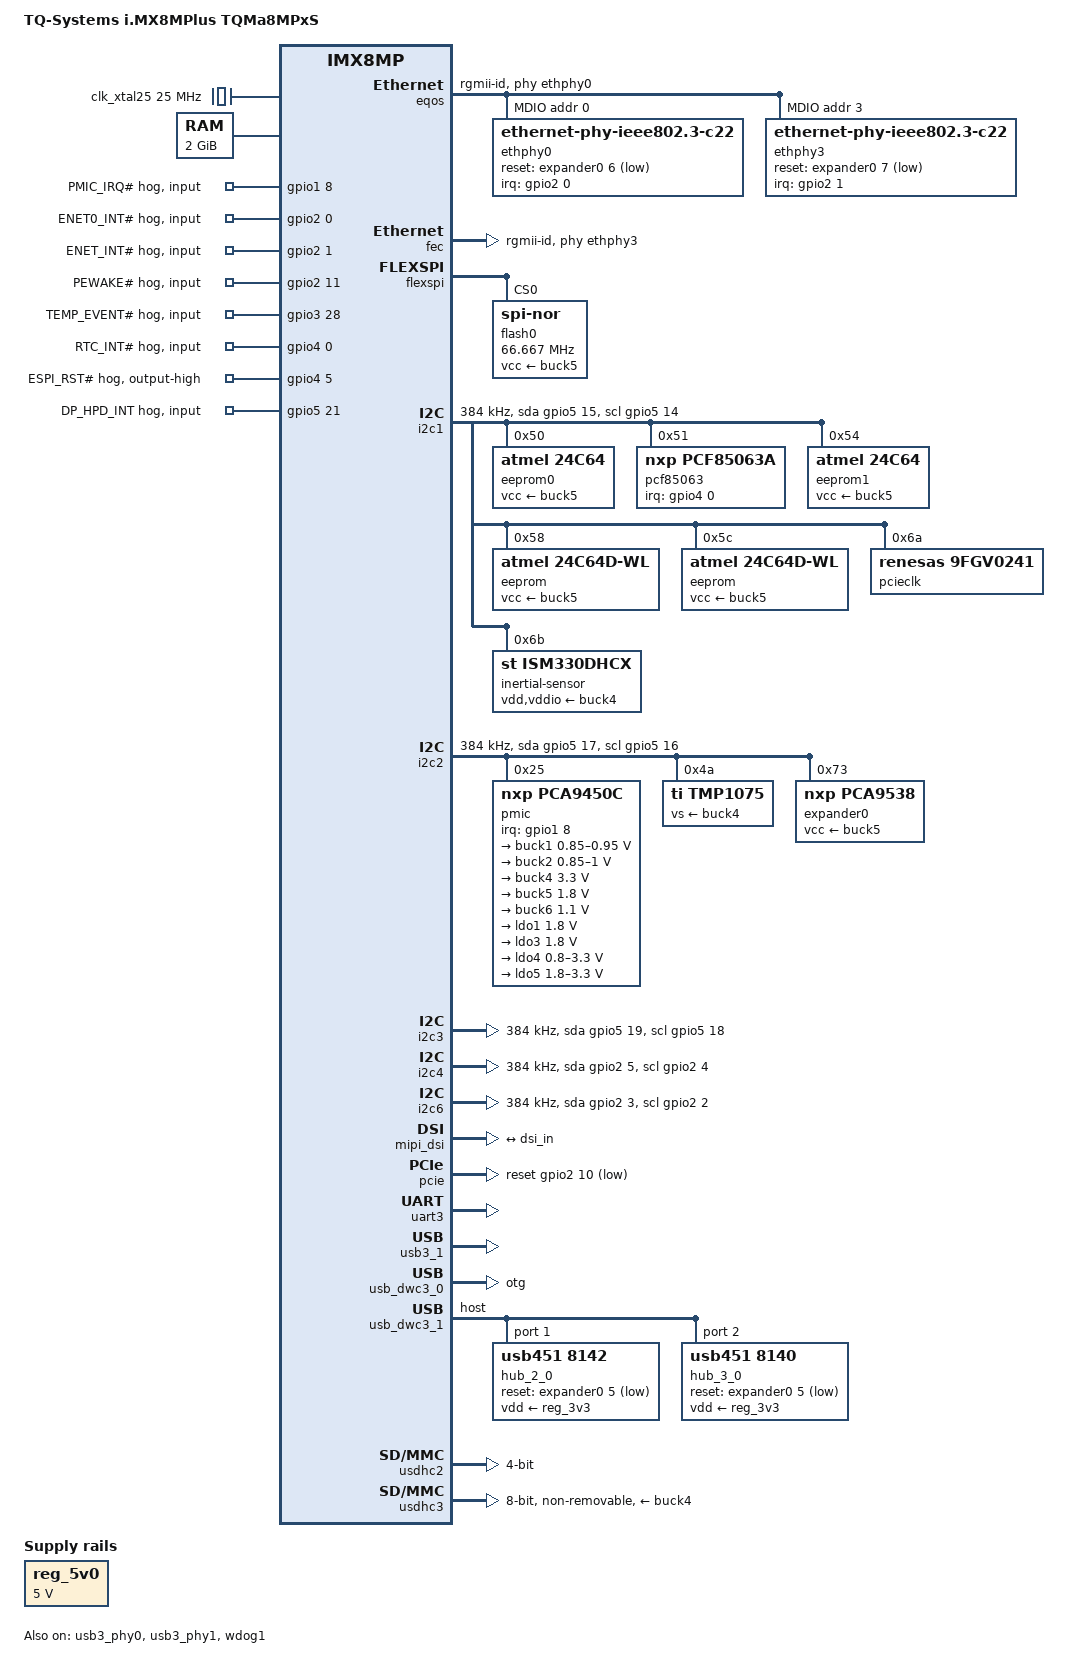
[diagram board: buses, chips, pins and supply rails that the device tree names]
// SPDX-License-Identifier: GPL-2.0-or-later OR MIT
/*
 * Copyright 2025-2026 TQ-Systems GmbH <linux@ew.tq-group.com>,
 * D-82229 Seefeld, Germany.
 * Author: Paul Gerber
 */

#include <dt-bindings/net/ti-dp83867.h>
#include <dt-bindings/phy/phy-imx8-pcie.h>
#include "imx8mp.dtsi"

/ {
	model = "TQ-Systems i.MX8MPlus TQMa8MPxS";
	compatible = "tq,imx8mp-tqma8mpqs", "fsl,imx8mp";

	clk_dp: clk-dp {
		compatible = "fixed-clock";
		#clock-cells = <0>;
		clock-frequency = <26000000>;
	};

	clk_xtal25: clk-xtal25 {
		compatible = "fixed-clock";
		#clock-cells = <0>;
		clock-frequency = <25000000>;
	};

	memory@40000000 {
		device_type = "memory";
		reg = <0x0 0x40000000 0 0x80000000>;
	};

	reg_5v0: regulator-5v0 {
		compatible = "regulator-fixed";
		regulator-name = "VCC_5V0";
		regulator-min-microvolt = <5000000>;
		regulator-max-microvolt = <5000000>;
		regulator-always-on;
	};

	reg_usdhc2_vmmc: regulator-usdhc2-vmmc {
		compatible = "regulator-fixed";
		pinctrl-names = "default";
		pinctrl-0 = <&pinctrl_reg_usdhc2_vmmc>;
		regulator-name = "SDIO_PWR_EN";
		regulator-min-microvolt = <3300000>;
		regulator-max-microvolt = <3300000>;
		gpio = <&gpio2 19 GPIO_ACTIVE_HIGH>;
		enable-active-high;
		status = "disabled";
	};

	reg_usdhc2_vqmmc: regulator-usdhc2-vqmmc {
		compatible = "regulator-gpio";
		pinctrl-names = "default";
		pinctrl-0 = <&pinctrl_reg_usdhc2_vqmmc>;
		regulator-name = "V_SD";
		regulator-min-microvolt = <1800000>;
		regulator-max-microvolt = <3300000>;
		gpios = <&gpio1 4 GPIO_ACTIVE_HIGH>;
		states = <1800000 0x1>,
			 <3300000 0x0>;
		vin-supply = <&ldo5>;
		status = "disabled";
	};
};

&A53_0 {
	cpu-supply = <&buck2>;
};

&audio_blk_ctrl {
	assigned-clocks = <&clk IMX8MP_AUDIO_PLL1>,
			  <&clk IMX8MP_AUDIO_PLL2>;
	assigned-clock-rates = <393216000>, <147333333>;
};

&ecspi1 {
	pinctrl-names = "default";
	pinctrl-0 = <&pinctrl_ecspi1>;
	cs-gpios = <&gpio5 9 GPIO_ACTIVE_LOW>, <&gpio5 12 GPIO_ACTIVE_LOW>;
};

/* GBE0 */
&eqos {
	pinctrl-names = "default";
	pinctrl-0 = <&pinctrl_eqos>;
	phy-mode = "rgmii-id";
	phy-handle = <&ethphy0>;
	snps,force_thresh_dma_mode;
	snps,mtl-tx-config = <&mtl_tx_setup>;
	snps,mtl-rx-config = <&mtl_rx_setup>;

	mdio {
		compatible = "snps,dwmac-mdio";
		#address-cells = <1>;
		#size-cells = <0>;

		ethphy0: ethernet-phy@0 {
			pinctrl-names = "default";
			pinctrl-0 = <&pinctrl_eqos_phy>;
			compatible = "ethernet-phy-ieee802.3-c22";
			reg = <0>;
			ti,rx-internal-delay = <DP83867_RGMIIDCTL_2_25_NS>;
			ti,tx-internal-delay = <DP83867_RGMIIDCTL_2_25_NS>;
			ti,fifo-depth = <DP83867_PHYCR_FIFO_DEPTH_4_B_NIB>;
			ti,dp83867-rxctrl-strap-quirk;
			ti,clk-output-sel = <DP83867_CLK_O_SEL_OFF>;
			reset-gpios = <&expander0 6 GPIO_ACTIVE_LOW>;
			reset-assert-us = <500000>;
			reset-deassert-us = <50000>;
			enet-phy-lane-no-swap;
			interrupt-parent = <&gpio2>;
			interrupts = <0 IRQ_TYPE_LEVEL_LOW>;
		};

		ethphy3: ethernet-phy@3 {
			pinctrl-names = "default";
			pinctrl-0 = <&pinctrl_fec_phy>;
			compatible = "ethernet-phy-ieee802.3-c22";
			reg = <3>;
			ti,rx-internal-delay = <DP83867_RGMIIDCTL_2_25_NS>;
			ti,tx-internal-delay = <DP83867_RGMIIDCTL_2_25_NS>;
			ti,fifo-depth = <DP83867_PHYCR_FIFO_DEPTH_4_B_NIB>;
			ti,dp83867-rxctrl-strap-quirk;
			ti,clk-output-sel = <DP83867_CLK_O_SEL_OFF>;
			reset-gpios = <&expander0 7 GPIO_ACTIVE_LOW>;
			reset-assert-us = <500000>;
			reset-deassert-us = <50000>;
			enet-phy-lane-no-swap;
			interrupt-parent = <&gpio2>;
			interrupts = <1 IRQ_TYPE_LEVEL_LOW>;
		};
	};

	mtl_tx_setup: tx-queues-config {
		snps,tx-queues-to-use = <5>;

		queue0 {
			snps,dcb-algorithm;
			snps,priority = <0x1>;
		};

		queue1 {
			snps,dcb-algorithm;
			snps,priority = <0x2>;
		};

		queue2 {
			snps,dcb-algorithm;
			snps,priority = <0x4>;
		};

		queue3 {
			snps,dcb-algorithm;
			snps,priority = <0x8>;
		};

		queue4 {
			snps,dcb-algorithm;
			snps,priority = <0xf0>;
		};
	};

	mtl_rx_setup: rx-queues-config {
		snps,rx-queues-to-use = <5>;
		snps,rx-sched-sp;

		queue0 {
			snps,dcb-algorithm;
			snps,priority = <0x1>;
			snps,map-to-dma-channel = <0>;
		};

		queue1 {
			snps,dcb-algorithm;
			snps,priority = <0x2>;
			snps,map-to-dma-channel = <1>;
		};

		queue2 {
			snps,dcb-algorithm;
			snps,priority = <0x4>;
			snps,map-to-dma-channel = <2>;
		};

		queue3 {
			snps,dcb-algorithm;
			snps,priority = <0x8>;
			snps,map-to-dma-channel = <3>;
		};

		queue4 {
			snps,dcb-algorithm;
			snps,priority = <0xf0>;
			snps,map-to-dma-channel = <4>;
		};
	};
};

/* GBE1 */
&fec {
	pinctrl-names = "default";
	pinctrl-0 = <&pinctrl_fec>;
	phy-mode = "rgmii-id";
	phy-handle = <&ethphy3>;
	fsl,magic-packet;
};

&flexcan1 {
	pinctrl-names = "default";
	pinctrl-0 = <&pinctrl_flexcan1>;
};

&flexcan2 {
	pinctrl-names = "default";
	pinctrl-0 = <&pinctrl_flexcan2>;
};

&flexspi {
	pinctrl-names = "default";
	pinctrl-0 = <&pinctrl_flexspi0>;
	status = "okay";

	flash0: flash@0 {
		reg = <0>;
		compatible = "jedec,spi-nor";
		spi-max-frequency = <66666666>;
		spi-tx-bus-width = <4>;
		spi-rx-bus-width = <4>;
		vcc-supply = <&buck5>;

		partitions {
			compatible = "fixed-partitions";
			#address-cells = <1>;
			#size-cells = <1>;
		};
	};
};

&gpio1 {
	pinctrl-names = "default";
	pinctrl-0 = <&pinctrl_gpio1>;

	gpio-line-names = "SLEEP", "BATLOW#", "", "LID",
			  "", "GPIO10", "CHARGING#", "CHG_PRSNT#",
			  "PMIC_IRQ#", "ESPI_CS1_ALERT#", "USB1_OTG_ID", "USB2_OTG_ID",
			  "", "", "", "",
			  "", "", "", "",
			  "", "", "", "",
			  "", "", "", "",
			  "", "", "", "";

	pmic_irq_hog: pmic-irq-hog {
		gpio-hog;
		gpios = <8 0>;
		input;
		line-name = "PMIC_IRQ#";
	};
};

&gpio2 {
	pinctrl-names = "default";
	pinctrl-0 = <&pinctrl_hoggpio2>;

	gpio-line-names = "", "", "", "",
			  "", "", "", "",
			  "", "", "PERST#", "PEWAKE#",
			  "SDIO_CD#", "", "", "",
			  "", "", "", "SDIO_PWR_EN",
			  "", "", "", "",
			  "", "", "", "",
			  "", "", "", "";

	enet0-int-hog {
		gpio-hog;
		gpios = <0 0>;
		input;
		line-name = "ENET0_INT#";
	};

	enet1-int-hog {
		gpio-hog;
		gpios = <1 0>;
		input;
		line-name = "ENET_INT#";
	};

	pewake-hog {
		gpio-hog;
		gpios = <11 0>;
		input;
		line-name = "PEWAKE#";
	};
};

&gpio3 {
	pinctrl-names = "default";
	pinctrl-0 = <&pinctrl_gpio3>;

	gpio-line-names = "", "", "", "",
			  "", "", "", "",
			  "", "", "", "",
			  "", "", "", "",
			  "", "", "", "GPIO4",
			  "GPIO3", "", "", "",
			  "", "", "", "",
			  "TEMP_EVENT#", "", "", "";

	temp-event-hog {
		gpio-hog;
		gpios = <28 0>;
		input;
		line-name = "TEMP_EVENT#";
	};
};

&gpio4 {
	pinctrl-names = "default";
	pinctrl-0 = <&pinctrl_gpio4>, <&pinctrl_sdp>, <&pinctrl_espi_rst>;

	gpio-line-names = "RTC_INT#", "GPIO8", "", "",
			  "GPIO9", "ESPI_RST#", "", "",
			  "", "", "", "",
			  "", "", "", "",
			  "", "", "GBE0_SDP_DIR", "",
			  "GPIO7", "", "", "",
			  "", "GPIO0", "GPIO1", "",
			  "GPIO2", "GPIO6", "", "";

	rtc-int-hog {
		gpio-hog;
		gpios = <0 0>;
		input;
		line-name = "RTC_INT#";
	};

	espi-reset-hog {
		gpio-hog;
		gpios = <5 0>;
		output-high;
		line-name = "ESPI_RST#";
	};
};

&gpio5 {
	pinctrl-names = "default";
	pinctrl-0 = <&pinctrl_gpio5>;

	gpio-line-names = "", "", "", "",
			  "", "GPIO5", "", "",
			  "", "", "GPIO12", "GPIO11",
			  "", "GPIO13", "", "",
			  "", "", "", "",
			  "", "", "", "",
			  "", "", "", "",
			  "", "", "", "";

	dp-hpd-int-hog {
		gpio-hog;
		gpios = <21 0>;
		input;
		line-name = "DP_HPD_INT";
	};
};

&hdmi_tx {
	pinctrl-names = "default";
	pinctrl-0 = <&pinctrl_hdmi>;
};

&i2c1 {
	clock-frequency = <384000>;
	pinctrl-names = "default", "gpio";
	pinctrl-0 = <&pinctrl_i2c1>;
	pinctrl-1 = <&pinctrl_i2c1_gpio>;
	scl-gpios = <&gpio5 14 (GPIO_ACTIVE_HIGH | GPIO_OPEN_DRAIN)>;
	sda-gpios = <&gpio5 15 (GPIO_ACTIVE_HIGH | GPIO_OPEN_DRAIN)>;
	status = "okay";

	eeprom0: eeprom@50 {
		compatible = "atmel,24c64";
		reg = <0x50>;
		pagesize = <32>;
		read-only;
		vcc-supply = <&buck5>;
	};

	pcf85063: rtc@51 {
		compatible = "nxp,pcf85063a";
		reg = <0x51>;
		quartz-load-femtofarads = <7000>;
		pinctrl-names = "default";
		pinctrl-0 = <&pinctrl_pcf85063>;
		interrupt-parent = <&gpio4>;
		interrupts = <0 IRQ_TYPE_EDGE_FALLING>;
	};

	eeprom1: eeprom@54 {
		compatible = "atmel,24c64";
		reg = <0x54>;
		pagesize = <32>;
		vcc-supply = <&buck5>;
	};

	/* protectable identification memory (part of M24C64-D @50) */
	eeprom@58 {
		compatible = "atmel,24c64d-wl";
		reg = <0x58>;
		size = <32>;
		pagesize = <32>;
		vcc-supply = <&buck5>;
	};

	/* protectable identification memory (part of M24C64-D @54) */
	eeprom@5c {
		compatible = "atmel,24c64d-wl";
		reg = <0x5c>;
		size = <32>;
		pagesize = <32>;
		vcc-supply = <&buck5>;
	};

	pcieclk: clock-generator@6a {
		compatible = "renesas,9fgv0241";
		reg = <0x6a>;
		clocks = <&clk_xtal25>;
		#clock-cells = <1>;
	};

	inertial-sensor@6b {
		compatible = "st,ism330dhcx";
		reg = <0x6b>;
		vdd-supply = <&buck4>;
		vddio-supply = <&buck4>;
	};
};

&i2c2 {
	clock-frequency = <384000>;
	pinctrl-names = "default", "gpio";
	pinctrl-0 = <&pinctrl_i2c2>;
	pinctrl-1 = <&pinctrl_i2c2_gpio>;
	scl-gpios = <&gpio5 16 (GPIO_ACTIVE_HIGH | GPIO_OPEN_DRAIN)>;
	sda-gpios = <&gpio5 17 (GPIO_ACTIVE_HIGH | GPIO_OPEN_DRAIN)>;
	status = "okay";

	pmic: pmic@25 {
		reg = <0x25>;
		compatible = "nxp,pca9450c";

		/* PMIC PCA9450 PMIC_nINT GPIO1_IO08 */
		pinctrl-names = "default";
		pinctrl-0 = <&pinctrl_pmic>;
		interrupt-parent = <&gpio1>;
		interrupts = <8 IRQ_TYPE_LEVEL_LOW>;

		regulators {
			/* V_0V85_SOC: 0.85 .. 0.95 */
			buck1: BUCK1 {
				regulator-name = "BUCK1";
				regulator-min-microvolt = <850000>;
				regulator-max-microvolt = <950000>;
				regulator-boot-on;
				regulator-always-on;
				regulator-ramp-delay = <3125>;
			};

			/* VDD_ARM */
			buck2: BUCK2 {
				regulator-name = "BUCK2";
				regulator-min-microvolt = <850000>;
				regulator-max-microvolt = <1000000>;
				regulator-boot-on;
				regulator-always-on;
				nxp,dvs-run-voltage = <950000>;
				nxp,dvs-standby-voltage = <850000>;
				regulator-ramp-delay = <3125>;
			};

			/* VCC3V3 -> VMMC, ... must not be changed */
			buck4: BUCK4 {
				regulator-name = "BUCK4";
				regulator-min-microvolt = <3300000>;
				regulator-max-microvolt = <3300000>;
				regulator-boot-on;
				regulator-always-on;
			};

			/* V_1V8 -> VQMMC, SPI-NOR, ... must not be changed */
			buck5: BUCK5 {
				regulator-name = "BUCK5";
				regulator-min-microvolt = <1800000>;
				regulator-max-microvolt = <1800000>;
				regulator-boot-on;
				regulator-always-on;
			};

			/* V_1V1 -> RAM, ... must not be changed */
			buck6: BUCK6 {
				regulator-name = "BUCK6";
				regulator-min-microvolt = <1100000>;
				regulator-max-microvolt = <1100000>;
				regulator-boot-on;
				regulator-always-on;
			};

			/* V_1V8_SNVS */
			ldo1: LDO1 {
				regulator-name = "LDO1";
				regulator-min-microvolt = <1800000>;
				regulator-max-microvolt = <1800000>;
				regulator-boot-on;
				regulator-always-on;
			};

			/* V_1V8_ANA */
			ldo3: LDO3 {
				regulator-name = "LDO3";
				regulator-min-microvolt = <1800000>;
				regulator-max-microvolt = <1800000>;
				regulator-boot-on;
				regulator-always-on;
			};

			/* unused */
			ldo4: LDO4 {
				regulator-name = "LDO4";
				regulator-min-microvolt = <800000>;
				regulator-max-microvolt = <3300000>;
			};

			/* VCC SD IO - switched using SD2 VSELECT */
			ldo5: LDO5 {
				regulator-name = "LDO5";
				regulator-min-microvolt = <1800000>;
				regulator-max-microvolt = <3300000>;
			};
		};
	};

	tmp1075: temperature-sensor@4a {
		compatible = "ti,tmp1075";
		reg = <0x4a>;
		pinctrl-names = "default";
		pinctrl-0 = <&pinctrl_tmp1075>;
		vs-supply = <&buck4>;
	};

	expander0: gpio@73 {
		compatible = "nxp,pca9538";
		reg = <0x73>;
		gpio-controller;
		#gpio-cells = <2>;
		vcc-supply = <&buck5>;
		gpio-line-names = "LCD0_BKLT_EN", "LCD0_VDD_EN",
				  "LCD1_BKLT_EN", "LCD1_VDD_EN",
				  "DP_BRIDGE_EN", "HUB_RST#",
				  "ENET0_RESET#", "ENET1_RESET#";
	};
};

&i2c3 {
	clock-frequency = <384000>;
	pinctrl-names = "default", "gpio";
	pinctrl-0 = <&pinctrl_i2c3>;
	pinctrl-1 = <&pinctrl_i2c3_gpio>;
	scl-gpios = <&gpio5 18 (GPIO_ACTIVE_HIGH | GPIO_OPEN_DRAIN)>;
	sda-gpios = <&gpio5 19 (GPIO_ACTIVE_HIGH | GPIO_OPEN_DRAIN)>;
	status = "okay";

	dp_bridge: dp-bridge@f {
		compatible = "toshiba,tc9595", "toshiba,tc358767";
		reg = <0xf>;
		pinctrl-names = "default";
		pinctrl-0 = <&pinctrl_tc9595>;
		clock-names = "ref";
		clocks = <&clk_dp>;
		reset-gpios = <&expander0 4 GPIO_ACTIVE_HIGH>;
		toshiba,hpd-pin = <0>;
		interrupts-extended = <&gpio5 21 IRQ_TYPE_LEVEL_HIGH>;
		status = "disabled";

		ports {
			#address-cells = <1>;
			#size-cells = <0>;

			port@0 {
				reg = <0>;

				dsi_in: endpoint {
					remote-endpoint = <&dsi_out>;
					data-lanes = <1 2 3 4>;
				};
			};

			port@2 {
				reg = <2>;

				endpoint {
					toshiba,pre-emphasis = /bits/ 8 <1 1>;
				};
			};
		};
	};
};

&i2c4 {
	clock-frequency = <384000>;
	pinctrl-names = "default", "gpio";
	pinctrl-0 = <&pinctrl_i2c4>;
	pinctrl-1 = <&pinctrl_i2c4_gpio>;
	scl-gpios = <&gpio2 4 (GPIO_ACTIVE_HIGH | GPIO_OPEN_DRAIN)>;
	sda-gpios = <&gpio2 5 (GPIO_ACTIVE_HIGH | GPIO_OPEN_DRAIN)>;
	status = "okay";
};

&i2c6 {
	clock-frequency = <384000>;
	pinctrl-names = "default", "gpio";
	pinctrl-0 = <&pinctrl_i2c6>;
	pinctrl-1 = <&pinctrl_i2c6_gpio>;
	scl-gpios = <&gpio2 2 (GPIO_ACTIVE_HIGH | GPIO_OPEN_DRAIN)>;
	sda-gpios = <&gpio2 3 (GPIO_ACTIVE_HIGH | GPIO_OPEN_DRAIN)>;
	status = "okay";
};

// Change parent clock of disp1 pixel clock to audio_pll2
&media_blk_ctrl {
	assigned-clocks = <&clk IMX8MP_CLK_MEDIA_AXI>,
			  <&clk IMX8MP_CLK_MEDIA_APB>,
			  <&clk IMX8MP_CLK_MEDIA_DISP1_PIX>,
			  <&clk IMX8MP_CLK_MEDIA_DISP2_PIX>,
			  <&clk IMX8MP_CLK_MEDIA_ISP>,
			  <&clk IMX8MP_VIDEO_PLL1>;
	assigned-clock-parents = <&clk IMX8MP_SYS_PLL2_1000M>,
				 <&clk IMX8MP_SYS_PLL1_800M>,
				 <&clk IMX8MP_AUDIO_PLL2_OUT>,
				 <&clk IMX8MP_VIDEO_PLL1_OUT>,
				 <&clk IMX8MP_SYS_PLL2_500M>;
};

&mipi_dsi {
	samsung,burst-clock-frequency = <1000000000>;
	samsung,esc-clock-frequency = <10000000>;

	ports {
		port@1 {
			reg = <1>;

			dsi_out: endpoint {
				remote-endpoint = <&dsi_in>;
				data-lanes = <1 2 3 4>;
			};
		};
	};
};

&pcie_phy {
	fsl,refclk-pad-mode = <IMX8_PCIE_REFCLK_PAD_INPUT>;
	clock-names = "ref";
	clocks = <&pcieclk 0>;
};

&pcie {
	pinctrl-names = "default";
	pinctrl-0 = <&pinctrl_pcie>;
	clocks = <&clk IMX8MP_CLK_HSIO_ROOT>,
		 <&clk IMX8MP_CLK_HSIO_AXI>,
		 <&clk IMX8MP_CLK_PCIE_ROOT>;
	clock-names = "pcie", "pcie_bus", "pcie_aux";
	reset-gpios = <&gpio2 10 GPIO_ACTIVE_LOW>;
	assigned-clocks = <&clk IMX8MP_CLK_PCIE_AUX>;
	assigned-clock-rates = <10000000>;
	assigned-clock-parents = <&clk IMX8MP_SYS_PLL2_50M>;
};

&pwm2 {
	pinctrl-names = "default";
	pinctrl-0 = <&pinctrl_pwm2>;
};

&pwm3 {
	pinctrl-names = "default";
	pinctrl-0 = <&pinctrl_pwm3>;
};

&sai3 {
	pinctrl-names = "default";
	pinctrl-0 = <&pinctrl_sai3>;
	assigned-clocks = <&clk IMX8MP_CLK_SAI3>;
	assigned-clock-parents = <&clk IMX8MP_AUDIO_PLL1_OUT>;
	assigned-clock-rates = <12288000>;
};

&sai5 {
	pinctrl-names = "default";
	pinctrl-0 = <&pinctrl_sai5>;
	assigned-clocks = <&clk IMX8MP_CLK_SAI5>;
	assigned-clock-parents = <&clk IMX8MP_AUDIO_PLL1_OUT>;
	assigned-clock-rates = <12288000>;
	fsl,sai-mclk-direction-output;
};

&uart1 {
	pinctrl-names = "default";
	pinctrl-0 = <&pinctrl_uart1>;
	assigned-clocks = <&clk IMX8MP_CLK_UART1>;
	assigned-clock-parents = <&clk IMX8MP_SYS_PLL1_80M>;
	uart-has-rtscts;
};

&uart2 {
	pinctrl-names = "default";
	pinctrl-0 = <&pinctrl_uart2>;
	assigned-clocks = <&clk IMX8MP_CLK_UART2>;
	assigned-clock-parents = <&clk IMX8MP_SYS_PLL1_80M>;
	uart-has-rtscts;
};

&uart3 {
	/* console */
	pinctrl-names = "default";
	pinctrl-0 = <&pinctrl_uart3>;
	status = "okay";
};

&uart4 {
	pinctrl-names = "default";
	pinctrl-0 = <&pinctrl_uart4>;
	assigned-clocks = <&clk IMX8MP_CLK_UART4>;
	assigned-clock-parents = <&clk IMX8MP_SYS_PLL1_80M>;
};

&usb3_phy0 {
	vbus-supply = <&reg_5v0>;
	status = "okay";
};

&usb3_phy1 {
	vbus-supply = <&reg_5v0>;
	status = "okay";
};

&usb3_0 {
	pinctrl-names = "default";
	pinctrl-0 = <&pinctrl_usb0>;
	fsl,over-current-active-low;
};

&usb3_1 {
	pinctrl-names = "default";
	pinctrl-0 = <&pinctrl_usb1>;
	fsl,over-current-active-low;
	status = "okay";
};

&usb_dwc3_0 {
	/* dual role is implemented, but not a full featured OTG */
	hnp-disable;
	srp-disable;
	adp-disable;
	dr_mode = "otg";
	usb-role-switch;
	role-switch-default-mode = "peripheral";
	/* SMARC-2 USB0 interface only supports USB 2.0 signals */
	maximum-speed = "high-speed";
};

&usb_dwc3_1 {
	dr_mode = "host";
	#address-cells = <1>;
	#size-cells = <0>;
	status = "okay";

	hub_2_0: hub@1 {
		compatible = "usb451,8142";
		reg = <1>;
		peer-hub = <&hub_3_0>;
		reset-gpios = <&expander0 5 GPIO_ACTIVE_LOW>;
		vdd-supply = <&reg_3v3>;
	};

	hub_3_0: hub@2 {
		compatible = "usb451,8140";
		reg = <2>;
		peer-hub = <&hub_2_0>;
		reset-gpios = <&expander0 5 GPIO_ACTIVE_LOW>;
		vdd-supply = <&reg_3v3>;
	};
};

&usdhc2 {
	pinctrl-names = "default", "state_100mhz", "state_200mhz";
	pinctrl-0 = <&pinctrl_usdhc2>, <&pinctrl_usdhc2_gpio>;
	pinctrl-1 = <&pinctrl_usdhc2_100mhz>, <&pinctrl_usdhc2_gpio>;
	pinctrl-2 = <&pinctrl_usdhc2_200mhz>, <&pinctrl_usdhc2_gpio>;
	bus-width = <4>;
	vqmmc-supply = <&reg_usdhc2_vqmmc>;
	/* NOTE: CD / WP and VMMC support depends on mainboard */
};

&usdhc3 {
	pinctrl-names = "default", "state_100mhz", "state_200mhz";
	pinctrl-0 = <&pinctrl_usdhc3>;
	pinctrl-1 = <&pinctrl_usdhc3_100mhz>;
	pinctrl-2 = <&pinctrl_usdhc3_200mhz>;
	bus-width = <8>;
	non-removable;
	no-sdio;
	no-sd;
	vmmc-supply = <&buck4>;
	vqmmc-supply = <&buck5>;
	status = "okay";
};

&wdog1 {
	pinctrl-names = "default";
	pinctrl-0 = <&pinctrl_wdog>;
	fsl,ext-reset-output;
	status = "okay";
};

&iomuxc {
	pinctrl_ecspi1: ecspi1grp {
		fsl,pins = <MX8MP_IOMUXC_ECSPI1_MISO__ECSPI1_MISO	0x1c0>,
			   <MX8MP_IOMUXC_ECSPI1_MOSI__ECSPI1_MOSI	0x1c0>,
			   <MX8MP_IOMUXC_ECSPI1_SCLK__ECSPI1_SCLK	0x1c0>,
			   <MX8MP_IOMUXC_ECSPI1_SS0__GPIO5_IO09		0x1c0>,
			   <MX8MP_IOMUXC_ECSPI2_MISO__GPIO5_IO12	0x1c0>;
	};

	pinctrl_eqos: eqosgrp {
		fsl,pins = <MX8MP_IOMUXC_ENET_MDC__ENET_QOS_MDC				0x40000044>,
			   <MX8MP_IOMUXC_ENET_MDIO__ENET_QOS_MDIO			0x40000044>,
			   <MX8MP_IOMUXC_ENET_RD0__ENET_QOS_RGMII_RD0			0x90>,
			   <MX8MP_IOMUXC_ENET_RD1__ENET_QOS_RGMII_RD1			0x90>,
			   <MX8MP_IOMUXC_ENET_RD2__ENET_QOS_RGMII_RD2			0x90>,
			   <MX8MP_IOMUXC_ENET_RD3__ENET_QOS_RGMII_RD3			0x90>,
			   <MX8MP_IOMUXC_ENET_RXC__CCM_ENET_QOS_CLOCK_GENERATE_RX_CLK	0x90>,
			   <MX8MP_IOMUXC_ENET_RX_CTL__ENET_QOS_RGMII_RX_CTL		0x90>,
			   <MX8MP_IOMUXC_ENET_TD0__ENET_QOS_RGMII_TD0			0x12>,
			   <MX8MP_IOMUXC_ENET_TD1__ENET_QOS_RGMII_TD1			0x12>,
			   <MX8MP_IOMUXC_ENET_TD2__ENET_QOS_RGMII_TD2			0x12>,
			   <MX8MP_IOMUXC_ENET_TD3__ENET_QOS_RGMII_TD3			0x12>,
			   <MX8MP_IOMUXC_ENET_TX_CTL__ENET_QOS_RGMII_TX_CTL		0x12>,
			   <MX8MP_IOMUXC_ENET_TXC__CCM_ENET_QOS_CLOCK_GENERATE_TX_CLK	0x14>;
	};

	pinctrl_eqos_event: eqosevtgrp {
		fsl,pins = <MX8MP_IOMUXC_SAI2_MCLK__ENET_QOS_1588_EVENT3_IN	0x100>,
			   <MX8MP_IOMUXC_SAI2_TXFS__ENET_QOS_1588_EVENT3_OUT	0x1c0>;
	};

	pinctrl_eqos_phy: eqosphygrp {
		fsl,pins = <MX8MP_IOMUXC_SD1_CLK__GPIO2_IO00	0x1c0>;
	};

	pinctrl_espi_rst: espirstgrp {
		fsl,pins = <MX8MP_IOMUXC_SAI1_RXD3__GPIO4_IO05		0x144>;
	};

	pinctrl_fec: fecgrp {
		fsl,pins = <MX8MP_IOMUXC_SAI1_RXD4__ENET1_RGMII_RD0	0x90>,
			   <MX8MP_IOMUXC_SAI1_RXD5__ENET1_RGMII_RD1	0x90>,
			   <MX8MP_IOMUXC_SAI1_RXD6__ENET1_RGMII_RD2	0x90>,
			   <MX8MP_IOMUXC_SAI1_RXD7__ENET1_RGMII_RD3	0x90>,
			   <MX8MP_IOMUXC_SAI1_TXC__ENET1_RGMII_RXC	0x90>,
			   <MX8MP_IOMUXC_SAI1_TXFS__ENET1_RGMII_RX_CTL	0x90>,
			   <MX8MP_IOMUXC_SAI1_TXD0__ENET1_RGMII_TD0	0x12>,
			   <MX8MP_IOMUXC_SAI1_TXD1__ENET1_RGMII_TD1	0x12>,
			   <MX8MP_IOMUXC_SAI1_TXD2__ENET1_RGMII_TD2	0x12>,
			   <MX8MP_IOMUXC_SAI1_TXD3__ENET1_RGMII_TD3	0x12>,
			   <MX8MP_IOMUXC_SAI1_TXD4__ENET1_RGMII_TX_CTL	0x12>,
			   <MX8MP_IOMUXC_SAI1_TXD5__ENET1_RGMII_TXC	0x14>;
	};

	pinctrl_fec_event: fecevtgrp {
		fsl,pins = <MX8MP_IOMUXC_SAI1_RXD1__ENET1_1588_EVENT1_OUT	0x100>,
			   <MX8MP_IOMUXC_SAI1_RXD0__ENET1_1588_EVENT1_IN	0x1c0>;
	};

	pinctrl_fec_phy: fecphygrp {
		fsl,pins = <MX8MP_IOMUXC_SD1_CMD__GPIO2_IO01	0x1c0>;
	};

	pinctrl_flexcan1: flexcan1grp {
		fsl,pins = <MX8MP_IOMUXC_SAI5_RXD1__CAN1_TX	0x150>,
			   <MX8MP_IOMUXC_SAI5_RXD2__CAN1_RX	0x150>;
	};

	pinctrl_flexcan2: flexcan2grp {
		fsl,pins = <MX8MP_IOMUXC_SAI5_RXD3__CAN2_TX	0x150>,
			   <MX8MP_IOMUXC_SAI5_MCLK__CAN2_RX	0x150>;
	};

	pinctrl_flexspi0: flexspi0grp {
		fsl,pins = <MX8MP_IOMUXC_NAND_ALE__FLEXSPI_A_SCLK	0x142>,
			   <MX8MP_IOMUXC_NAND_CE0_B__FLEXSPI_A_SS0_B	0x82>,
			   <MX8MP_IOMUXC_NAND_DQS__FLEXSPI_A_DQS	0x40000010>,
			   <MX8MP_IOMUXC_NAND_DATA00__FLEXSPI_A_DATA00	0x82>,
			   <MX8MP_IOMUXC_NAND_DATA01__FLEXSPI_A_DATA01	0x82>,
			   <MX8MP_IOMUXC_NAND_DATA02__FLEXSPI_A_DATA02	0x82>,
			   <MX8MP_IOMUXC_NAND_DATA03__FLEXSPI_A_DATA03	0x82>;
	};

	pinctrl_sdp: gbegrp {
		fsl,pins = <MX8MP_IOMUXC_SAI1_TXD6__GPIO4_IO18	0x10>,
			   <MX8MP_IOMUXC_SAI1_TXD7__GPIO4_IO19	0x10>;
	};

	pinctrl_gpio1: gpio1grp {
		fsl,pins = <MX8MP_IOMUXC_GPIO1_IO00__GPIO1_IO00		0x10>,
			   <MX8MP_IOMUXC_GPIO1_IO01__GPIO1_IO01		0x10>,
			   <MX8MP_IOMUXC_GPIO1_IO03__GPIO1_IO03		0x10>,
			   <MX8MP_IOMUXC_GPIO1_IO05__GPIO1_IO05		0x10>,
			   <MX8MP_IOMUXC_GPIO1_IO06__GPIO1_IO06		0x10>,
			   <MX8MP_IOMUXC_GPIO1_IO07__GPIO1_IO07		0x80>,
			   <MX8MP_IOMUXC_GPIO1_IO09__GPIO1_IO09		0x80>;
	};

	pinctrl_gpio3: gpio3grp {
		fsl,pins = <MX8MP_IOMUXC_SAI5_RXFS__GPIO3_IO19		0x10>,
			   <MX8MP_IOMUXC_SAI5_RXC__GPIO3_IO20		0x10>;
	};

	pinctrl_gpio4: gpio4grp {
		fsl,pins = <MX8MP_IOMUXC_SAI1_RXC__GPIO4_IO01		0x10>,
			   <MX8MP_IOMUXC_SAI1_RXD2__GPIO4_IO04		0x10>,
			   <MX8MP_IOMUXC_SAI1_MCLK__GPIO4_IO20		0x10>,
			   <MX8MP_IOMUXC_SAI2_TXC__GPIO4_IO25		0x10>,
			   <MX8MP_IOMUXC_SAI2_TXD0__GPIO4_IO26		0x10>,
			   <MX8MP_IOMUXC_SAI3_RXFS__GPIO4_IO28		0x10>,
			   <MX8MP_IOMUXC_SAI3_RXC__GPIO4_IO29		0x10>;
	};

	pinctrl_gpio5: gpio5grp {
		fsl,pins = <MX8MP_IOMUXC_SPDIF_EXT_CLK__GPIO5_IO05	0x10>,
			   <MX8MP_IOMUXC_ECSPI2_SCLK__GPIO5_IO10	0x10>,
			   <MX8MP_IOMUXC_ECSPI2_MOSI__GPIO5_IO11	0x10>,
			   <MX8MP_IOMUXC_ECSPI2_SS0__GPIO5_IO13		0x10>;
	};

	pinctrl_hdmi: hdmigrp {
		fsl,pins = <MX8MP_IOMUXC_HDMI_DDC_SCL__HDMIMIX_HDMI_SCL	0x400001c2>,
			   <MX8MP_IOMUXC_HDMI_DDC_SDA__HDMIMIX_HDMI_SDA	0x400001c2>,
			   <MX8MP_IOMUXC_HDMI_HPD__HDMIMIX_HDMI_HPD	0x40000010>;
	};

	pinctrl_hoggpio2: hoggpio2grp {
		fsl,pins = <MX8MP_IOMUXC_SD1_STROBE__GPIO2_IO11		0x140>;
	};

	pinctrl_i2c1: i2c1grp {
		fsl,pins = <MX8MP_IOMUXC_I2C1_SCL__I2C1_SCL		0x400001e2>,
			   <MX8MP_IOMUXC_I2C1_SDA__I2C1_SDA		0x400001e2>;
	};

	pinctrl_i2c1_gpio: i2c1-gpiogrp {
		fsl,pins = <MX8MP_IOMUXC_I2C1_SCL__GPIO5_IO14		0x400001e2>,
			   <MX8MP_IOMUXC_I2C1_SDA__GPIO5_IO15		0x400001e2>;
	};

	pinctrl_i2c2: i2c2grp {
		fsl,pins = <MX8MP_IOMUXC_I2C2_SCL__I2C2_SCL		0x400001e2>,
			   <MX8MP_IOMUXC_I2C2_SDA__I2C2_SDA		0x400001e2>;
	};

	pinctrl_i2c2_gpio: i2c2-gpiogrp {
		fsl,pins = <MX8MP_IOMUXC_I2C2_SCL__GPIO5_IO16		0x400001e2>,
			   <MX8MP_IOMUXC_I2C2_SDA__GPIO5_IO17		0x400001e2>;
	};

	pinctrl_i2c3: i2c3grp {
		fsl,pins = <MX8MP_IOMUXC_I2C3_SCL__I2C3_SCL		0x400001e2>,
			   <MX8MP_IOMUXC_I2C3_SDA__I2C3_SDA		0x400001e2>;
	};

	pinctrl_i2c3_gpio: i2c3-gpiogrp {
		fsl,pins = <MX8MP_IOMUXC_I2C3_SCL__GPIO5_IO18		0x400001e2>,
			   <MX8MP_IOMUXC_I2C3_SDA__GPIO5_IO19		0x400001e2>;
	};

	pinctrl_i2c4: i2c4grp {
		fsl,pins = <MX8MP_IOMUXC_SD1_DATA2__I2C4_SCL		0x400001e2>,
			   <MX8MP_IOMUXC_SD1_DATA3__I2C4_SDA		0x400001e2>;
	};

	pinctrl_i2c4_gpio: i2c4-gpiogrp {
		fsl,pins = <MX8MP_IOMUXC_SD1_DATA2__GPIO2_IO04		0x400001e2>,
			   <MX8MP_IOMUXC_SD1_DATA3__GPIO2_IO05		0x400001e2>;
	};

	pinctrl_i2c6: i2c6grp {
		fsl,pins = <MX8MP_IOMUXC_SD1_DATA0__I2C6_SCL		0x400001e2>,
			   <MX8MP_IOMUXC_SD1_DATA1__I2C6_SDA		0x400001e2>;
	};

	pinctrl_i2c6_gpio: i2c6-gpiogrp {
		fsl,pins = <MX8MP_IOMUXC_SD1_DATA0__GPIO2_IO02		0x400001e2>,
			   <MX8MP_IOMUXC_SD1_DATA1__GPIO2_IO03		0x400001e2>;
	};

	pinctrl_pcf85063: pcf85063grp {
		fsl,pins = <MX8MP_IOMUXC_SAI1_RXFS__GPIO4_IO00		0x80>;
	};

	pinctrl_pcie: pciegrp {
		fsl,pins = <MX8MP_IOMUXC_I2C4_SCL__PCIE_CLKREQ_B	0x60>,
			   <MX8MP_IOMUXC_SD1_RESET_B__GPIO2_IO10	0x94>;
	};

	pinctrl_pmic: pmicirqgrp {
		fsl,pins = <MX8MP_IOMUXC_GPIO1_IO08__GPIO1_IO08		0x1c0>;
	};

	pinctrl_pwm2: pwm2grp {
		fsl,pins = <MX8MP_IOMUXC_SPDIF_RX__PWM2_OUT		0x14>;
	};

	pinctrl_pwm3: pwm3grp {
		fsl,pins = <MX8MP_IOMUXC_SPDIF_TX__PWM3_OUT		0x14>;
	};

	pinctrl_reg_usdhc2_vmmc: regusdhc2vmmcgrp {
		fsl,pins = <MX8MP_IOMUXC_SD2_RESET_B__GPIO2_IO19	0x10>;
	};

	pinctrl_reg_usdhc2_vqmmc: regusdhc2vqmmcgrp {
		fsl,pins = <MX8MP_IOMUXC_GPIO1_IO04__GPIO1_IO04		0xc0>;
	};

	pinctrl_sai3: sai3grp {
		fsl,pins = <
			MX8MP_IOMUXC_SAI3_RXD__AUDIOMIX_SAI3_RX_DATA00	0x94
			MX8MP_IOMUXC_SAI3_TXD__AUDIOMIX_SAI3_TX_DATA00	0x94
			MX8MP_IOMUXC_SAI3_TXFS__AUDIOMIX_SAI3_TX_SYNC	0x94
			MX8MP_IOMUXC_SAI3_TXC__AUDIOMIX_SAI3_TX_BCLK	0x94
		>;
	};

	pinctrl_sai5: sai5grp {
		fsl,pins = <
			MX8MP_IOMUXC_SAI3_MCLK__AUDIOMIX_SAI5_MCLK	0x94
			MX8MP_IOMUXC_SAI5_RXD0__AUDIOMIX_SAI5_RX_DATA00	0x94
			MX8MP_IOMUXC_SAI2_RXD0__AUDIOMIX_SAI5_TX_DATA00	0x94
			MX8MP_IOMUXC_SAI2_RXFS__AUDIOMIX_SAI5_TX_SYNC	0x94
			MX8MP_IOMUXC_SAI2_RXC__AUDIOMIX_SAI5_TX_BCLK	0x94
		>;
	};

	pinctrl_tc9595: tc9595grp {
		fsl,pins = <MX8MP_IOMUXC_I2C4_SDA__GPIO5_IO21		0x10>;
	};

	pinctrl_tmp1075: tmp1075grp {
		fsl,pins = <MX8MP_IOMUXC_HDMI_CEC__GPIO3_IO28	0x140>;
	};

	pinctrl_uart1: uart1grp {
		fsl,pins = <MX8MP_IOMUXC_UART1_TXD__UART1_DCE_TX	0x140>,
			   <MX8MP_IOMUXC_UART1_RXD__UART1_DCE_RX	0x140>,
			   <MX8MP_IOMUXC_UART3_RXD__UART1_DCE_CTS	0x140>,
			   <MX8MP_IOMUXC_UART3_TXD__UART1_DCE_RTS	0x140>;
	};

	pinctrl_uart2: uart2grp {
		fsl,pins = <MX8MP_IOMUXC_UART2_TXD__UART2_DCE_TX	0x140>,
			   <MX8MP_IOMUXC_UART2_RXD__UART2_DCE_RX	0x140>,
			   <MX8MP_IOMUXC_SD1_DATA4__UART2_DCE_RTS	0x140>,
			   <MX8MP_IOMUXC_SD1_DATA5__UART2_DCE_CTS	0x140>;
	};

	pinctrl_uart3: uart3grp {
		fsl,pins = <MX8MP_IOMUXC_SD1_DATA6__UART3_DCE_TX	0x140>,
			   <MX8MP_IOMUXC_SD1_DATA7__UART3_DCE_RX	0x140>;
	};

	pinctrl_uart4: uart4grp {
		fsl,pins = <MX8MP_IOMUXC_UART4_RXD__UART4_DCE_RX	0x140>,
			   <MX8MP_IOMUXC_UART4_TXD__UART4_DCE_TX	0x140>;
	};

	pinctrl_usb0: usb0grp {
		fsl,pins = <MX8MP_IOMUXC_GPIO1_IO13__USB1_OTG_OC	0x1c0>,
			   <MX8MP_IOMUXC_GPIO1_IO12__USB1_OTG_PWR	0x1c0>;
	};

	pinctrl_usb1: usb1grp {
		fsl,pins = <MX8MP_IOMUXC_GPIO1_IO15__USB2_OTG_OC	0x1c0>,
			   <MX8MP_IOMUXC_GPIO1_IO14__USB2_OTG_PWR	0x1c0>;
	};

	pinctrl_usbcon0: usb0congrp {
		fsl,pins = <MX8MP_IOMUXC_GPIO1_IO10__GPIO1_IO10		0x1c0>;
	};

	pinctrl_usdhc2: usdhc2grp {
		fsl,pins = <MX8MP_IOMUXC_SD2_CLK__USDHC2_CLK		0x192>,
			   <MX8MP_IOMUXC_SD2_CMD__USDHC2_CMD		0x1d2>,
			   <MX8MP_IOMUXC_SD2_DATA0__USDHC2_DATA0	0x1d2>,
			   <MX8MP_IOMUXC_SD2_DATA1__USDHC2_DATA1	0x1d2>,
			   <MX8MP_IOMUXC_SD2_DATA2__USDHC2_DATA2	0x1d2>,
			   <MX8MP_IOMUXC_SD2_DATA3__USDHC2_DATA3	0x1d2>;
	};

	pinctrl_usdhc2_100mhz: usdhc2-100mhzgrp {
		fsl,pins = <MX8MP_IOMUXC_SD2_CLK__USDHC2_CLK		0x194>,
			   <MX8MP_IOMUXC_SD2_CMD__USDHC2_CMD		0x1d4>,
			   <MX8MP_IOMUXC_SD2_DATA0__USDHC2_DATA0	0x1d4>,
			   <MX8MP_IOMUXC_SD2_DATA1__USDHC2_DATA1	0x1d4>,
			   <MX8MP_IOMUXC_SD2_DATA2__USDHC2_DATA2	0x1d4>,
			   <MX8MP_IOMUXC_SD2_DATA3__USDHC2_DATA3	0x1d4>;
	};

	pinctrl_usdhc2_200mhz: usdhc2-200mhzgrp {
		fsl,pins = <MX8MP_IOMUXC_SD2_CLK__USDHC2_CLK		0x194>,
			   <MX8MP_IOMUXC_SD2_CMD__USDHC2_CMD		0x1d4>,
			   <MX8MP_IOMUXC_SD2_DATA0__USDHC2_DATA0	0x1d4>,
			   <MX8MP_IOMUXC_SD2_DATA1__USDHC2_DATA1	0x1d4>,
			   <MX8MP_IOMUXC_SD2_DATA2__USDHC2_DATA2	0x1d4>,
			   <MX8MP_IOMUXC_SD2_DATA3__USDHC2_DATA3	0x1d4>;
	};

	pinctrl_usdhc2_gpio: usdhc2-gpiogrp {
		fsl,pins = <MX8MP_IOMUXC_SD2_CD_B__GPIO2_IO12		0x1c0>,
			   <MX8MP_IOMUXC_SD2_WP__GPIO2_IO20		0x1c0>;
	};

	pinctrl_usdhc3: usdhc3grp {
		fsl,pins = <MX8MP_IOMUXC_NAND_WE_B__USDHC3_CLK		0x194>,
			   <MX8MP_IOMUXC_NAND_WP_B__USDHC3_CMD		0x1d4>,
			   <MX8MP_IOMUXC_NAND_DATA04__USDHC3_DATA0	0x1d4>,
			   <MX8MP_IOMUXC_NAND_DATA05__USDHC3_DATA1	0x1d4>,
			   <MX8MP_IOMUXC_NAND_DATA06__USDHC3_DATA2	0x1d4>,
			   <MX8MP_IOMUXC_NAND_DATA07__USDHC3_DATA3	0x1d4>,
			   <MX8MP_IOMUXC_NAND_RE_B__USDHC3_DATA4	0x1d4>,
			   <MX8MP_IOMUXC_NAND_CE2_B__USDHC3_DATA5	0x1d4>,
			   <MX8MP_IOMUXC_NAND_CE3_B__USDHC3_DATA6	0x1d4>,
			   <MX8MP_IOMUXC_NAND_CLE__USDHC3_DATA7		0x1d4>,
			   <MX8MP_IOMUXC_NAND_CE1_B__USDHC3_STROBE	0x84>,
			   <MX8MP_IOMUXC_NAND_READY_B__USDHC3_RESET_B	0x84>;
	};

	pinctrl_usdhc3_100mhz: usdhc3-100mhzgrp {
		fsl,pins = <MX8MP_IOMUXC_NAND_WE_B__USDHC3_CLK		0x194>,
			   <MX8MP_IOMUXC_NAND_WP_B__USDHC3_CMD		0x1d4>,
			   <MX8MP_IOMUXC_NAND_DATA04__USDHC3_DATA0	0x1d4>,
			   <MX8MP_IOMUXC_NAND_DATA05__USDHC3_DATA1	0x1d4>,
			   <MX8MP_IOMUXC_NAND_DATA06__USDHC3_DATA2	0x1d4>,
			   <MX8MP_IOMUXC_NAND_DATA07__USDHC3_DATA3	0x1d4>,
			   <MX8MP_IOMUXC_NAND_RE_B__USDHC3_DATA4	0x1d4>,
			   <MX8MP_IOMUXC_NAND_CE2_B__USDHC3_DATA5	0x1d4>,
			   <MX8MP_IOMUXC_NAND_CE3_B__USDHC3_DATA6	0x1d4>,
			   <MX8MP_IOMUXC_NAND_CLE__USDHC3_DATA7		0x1d4>,
			   <MX8MP_IOMUXC_NAND_CE1_B__USDHC3_STROBE	0x84>,
			   <MX8MP_IOMUXC_NAND_READY_B__USDHC3_RESET_B	0x84>;
	};

	pinctrl_usdhc3_200mhz: usdhc3-200mhzgrp {
		fsl,pins = <MX8MP_IOMUXC_NAND_WE_B__USDHC3_CLK		0x194>,
			   <MX8MP_IOMUXC_NAND_WP_B__USDHC3_CMD		0x1d4>,
			   <MX8MP_IOMUXC_NAND_DATA04__USDHC3_DATA0	0x1d4>,
			   <MX8MP_IOMUXC_NAND_DATA05__USDHC3_DATA1	0x1d4>,
			   <MX8MP_IOMUXC_NAND_DATA06__USDHC3_DATA2	0x1d4>,
			   <MX8MP_IOMUXC_NAND_DATA07__USDHC3_DATA3	0x1d4>,
			   <MX8MP_IOMUXC_NAND_RE_B__USDHC3_DATA4	0x1d4>,
			   <MX8MP_IOMUXC_NAND_CE2_B__USDHC3_DATA5	0x1d4>,
			   <MX8MP_IOMUXC_NAND_CE3_B__USDHC3_DATA6	0x1d4>,
			   <MX8MP_IOMUXC_NAND_CLE__USDHC3_DATA7		0x1d4>,
			   <MX8MP_IOMUXC_NAND_CE1_B__USDHC3_STROBE	0x84>,
			   <MX8MP_IOMUXC_NAND_READY_B__USDHC3_RESET_B	0x84>;
	};

	pinctrl_wdog: wdoggrp {
		fsl,pins = <MX8MP_IOMUXC_GPIO1_IO02__WDOG1_WDOG_B	0x1c4>;
	};
};
